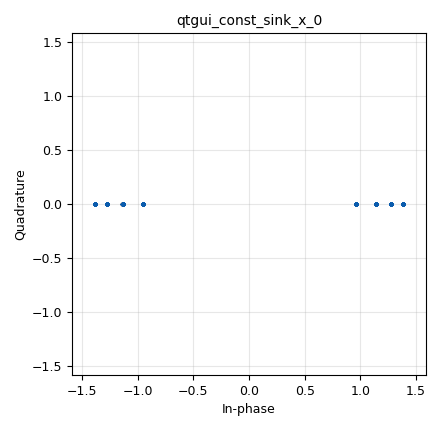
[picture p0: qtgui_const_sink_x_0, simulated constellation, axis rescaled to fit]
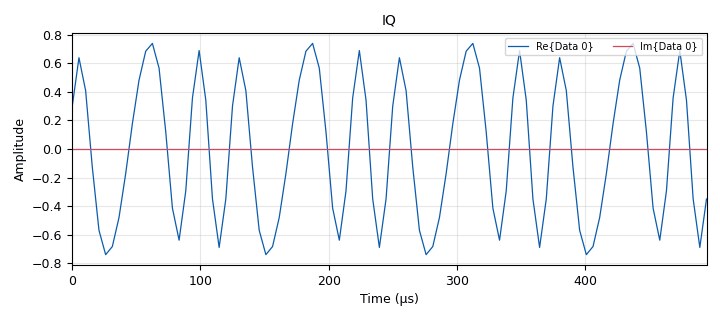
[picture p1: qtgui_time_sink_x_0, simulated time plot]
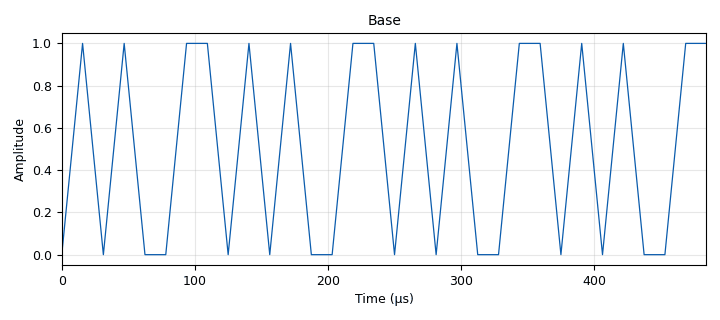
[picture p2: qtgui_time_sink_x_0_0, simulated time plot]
options:
  parameters:
    author: T.Ohashi
    generate_options: qt_gui
    id: BPSK_Transmitter
    output_language: python
    title: BPSK Transmitter
  states: {}

blocks:
- name: IQ_gain
  id: variable_qtgui_range
  parameters:
    orient: Qt.Horizontal
    start: '0'
    step: '0.1'
    stop: '1'
    value: '0.5'
  states: {}
- name: bit_rate
  id: variable
  parameters:
    value: '64000'
  states: {}
- name: bitrate
  id: variable_qtgui_label
  parameters:
    label: Bit_Rate
    type: int
    value: bit_rate
  states: {}
- name: data_chooser
  id: variable_qtgui_chooser
  parameters:
    label: Select Bit Data
    label0: Vector Source
    label1: Random Source
    num_opts: '2'
    option0: '0'
    option1: '1'
    type: int
    value: '0'
  states: {}
- name: ex_bw
  id: variable
  parameters:
    value: '0.35'
  states: {}
- name: psk
  id: variable_constellation
  parameters:
    precision: '8'
    type: bpsk
  states: {}
- name: rrc_filter_taps
  id: variable_rrc_filter_taps
  parameters:
    alpha: '0.35'
    gain: '1.0'
    ntaps: 11*sps
    samp_rate: samp_rate
    sym_rate: bit_rate/1
  states: {}
- name: samp_rate
  id: variable
  parameters:
    value: '192000'
  states: {}
- name: samplespersymbol
  id: variable_qtgui_label
  parameters:
    label: Samples/Symbol
    type: int
    value: sps
  states: {}
- name: sps
  id: variable
  parameters:
    value: int(samp_rate/bit_rate)
  states: {}
- name: analog_random_source_x_0
  id: analog_random_source_x
  parameters:
    max: '256'
    min: '0'
    num_samps: '10000'
    repeat: 'True'
    type: byte
  states: {}
- name: audio_sink_0
  id: audio_sink
  parameters:
    device_name: plughw:0
    num_inputs: '2'
    samp_rate: samp_rate
  states: {}
- name: blocks_char_to_float_0
  id: blocks_char_to_float
  parameters:
    scale: '1'
  states: {}
- name: blocks_complex_to_float_0
  id: blocks_complex_to_float
  parameters: {}
  states: {}
- name: blocks_multiply_const_vxx_0
  id: blocks_multiply_const_vxx
  parameters:
    const: IQ_gain
    type: complex
  states: {}
- name: blocks_multiply_const_vxx_0_0
  id: blocks_multiply_const_vxx
  parameters:
    const: '0.71'
    type: complex
  states: {}
- name: blocks_selector_1
  id: blocks_selector
  parameters:
    enabled: 'True'
    input_index: data_chooser
    num_inputs: '2'
    num_outputs: '1'
    output_index: '0'
    type: byte
  states: {}
- name: blocks_unpack_k_bits_bb_0
  id: blocks_unpack_k_bits_bb
  parameters:
    k: '8'
  states: {}
- name: blocks_vector_source_x_0
  id: blocks_vector_source_x
  parameters:
    repeat: 'True'
    type: byte
    vector: (1024*[0b01010011])
  states: {}
- name: digital_constellation_modulator_0
  id: digital_constellation_modulator
  parameters:
    constellation: psk
    differential: 'False'
    excess_bw: ex_bw
    samples_per_symbol: int(samp_rate/bit_rate)
  states: {}
- name: digital_costas_loop_cc_0
  id: digital_costas_loop_cc
  parameters:
    order: '2'
    use_snr: 'True'
    w: '0.0628'
  states: {}
- name: digital_symbol_sync_xx_0
  id: digital_symbol_sync_xx
  parameters:
    constellation: digital.constellation_qpsk().base()
    damping: '1.0'
    loop_bw: '0.045'
    max_dev: '1.5'
    osps: '1'
    resamp_type: digital.IR_MMSE_8TAP
    sps: sps
    ted_gain: '1.0'
    ted_type: digital.TED_MUELLER_AND_MULLER
    type: cc
  states: {}
- name: epy_block_0
  id: epy_block
  parameters:
    _source_code: |
      """
      Embedded Python Blocks:

      Each time this file is saved, GRC will instantiate the first class it finds
      to get ports and parameters of your block. The arguments to __init__  will
      be the parameters. All of them are required to have default values!
      """

      import numpy as np
      from gnuradio import gr
      import trf372017_raspi as trf372017


      class blk(gr.sync_block):  # other base classes are basic_block, decim_block, interp_block
          """Embedded Python Block example - a simple multiply const"""

          def __init__(self, frequency=433920000):  # only default arguments here
              """arguments to this function show up as parameters in GRC"""
              gr.sync_block.__init__(
                  self,
                  name='Ctrl trf372017',   # will show up in GRC
                  in_sig=None,
                  out_sig=None
              )
              # if an attribute with the same name as a parameter is found,
              # a callback is registered (properties work, too).
              self.freq = int(frequency/10000)  # 10kHz step
              self.trf = trf372017.Trf372017(0,0)      # SPI bus=0,device=0
              # VCO auto calibration
              self.trf.set_encal()
              # tx on
              self.trf.set_pwr_txdiv("on")
              self.trf.set_frequency( self.freq)
              

          def work(self, input_items, output_items):
              pass
              
          def __del__(self):
              del self.trf
    frequency: '433920000'
  states: {}
- name: qtgui_const_sink_x_0
  id: qtgui_const_sink_x
  parameters:
    size: '1024'
    type: complex
    xmax: '1'
    xmin: '-1'
    ymax: '1'
    ymin: '-1'
  states: {}
- name: qtgui_time_sink_x_0
  id: qtgui_time_sink_x
  parameters:
    autoscale: 'True'
    name: '"IQ"'
    size: 32*sps
    srate: samp_rate
    type: complex
  states: {}
- name: qtgui_time_sink_x_0_0
  id: qtgui_time_sink_x
  parameters:
    autoscale: 'True'
    name: '"Base"'
    size: '32'
    srate: samp_rate/sps
    type: float
  states: {}

connections:
- [analog_random_source_x_0, '0', blocks_selector_1, '1']
- [blocks_char_to_float_0, '0', qtgui_time_sink_x_0_0, '0']
- [blocks_complex_to_float_0, '0', audio_sink_0, '0']
- [blocks_complex_to_float_0, '1', audio_sink_0, '1']
- [blocks_multiply_const_vxx_0, '0', blocks_multiply_const_vxx_0_0, '0']
- [blocks_multiply_const_vxx_0, '0', qtgui_time_sink_x_0, '0']
- [blocks_multiply_const_vxx_0_0, '0', blocks_complex_to_float_0, '0']
- [blocks_selector_1, '0', blocks_unpack_k_bits_bb_0, '0']
- [blocks_selector_1, '0', digital_constellation_modulator_0, '0']
- [blocks_unpack_k_bits_bb_0, '0', blocks_char_to_float_0, '0']
- [blocks_vector_source_x_0, '0', blocks_selector_1, '0']
- [digital_constellation_modulator_0, '0', blocks_multiply_const_vxx_0, '0']
- [digital_constellation_modulator_0, '0', digital_symbol_sync_xx_0, '0']
- [digital_costas_loop_cc_0, '0', qtgui_const_sink_x_0, '0']
- [digital_symbol_sync_xx_0, '0', digital_costas_loop_cc_0, '0']

metadata:
  file_format: 1
